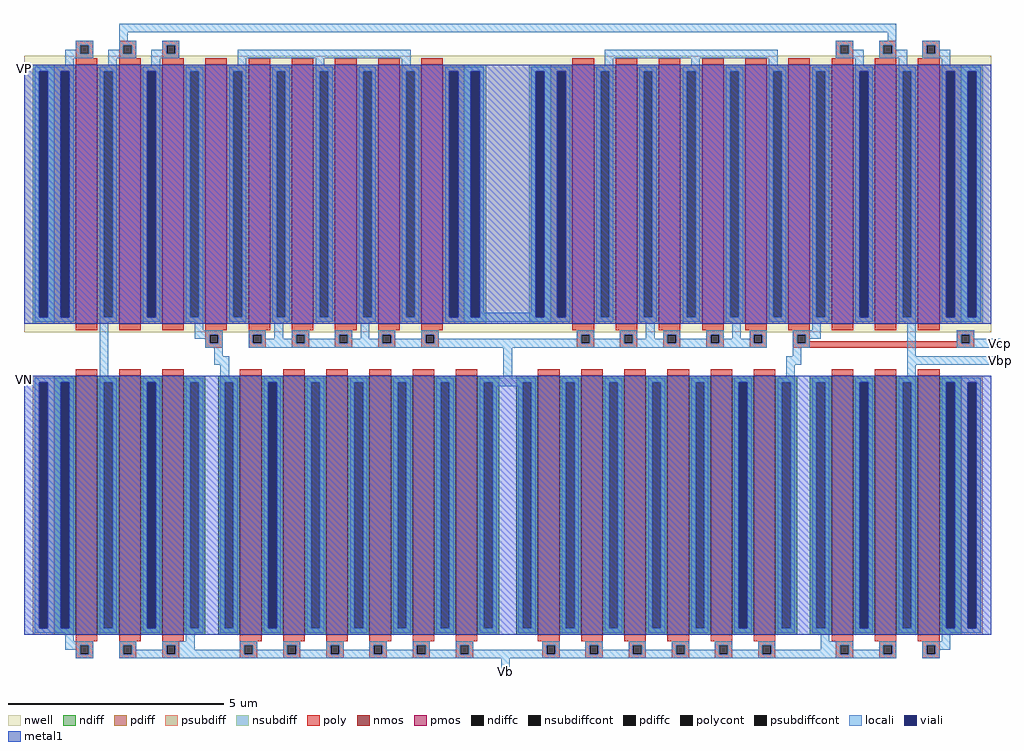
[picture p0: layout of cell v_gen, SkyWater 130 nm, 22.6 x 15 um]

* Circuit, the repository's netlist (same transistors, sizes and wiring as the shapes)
* NGSPICE file created from v_gen.ext - technology: sky130A

X0 VP VP Vcp VP sky130_fd_pr__pfet_01v8 ad=1.5 pd=6.5 as=1.5 ps=6.5 w=6 l=0.5
X1 VP VP Vbp VP sky130_fd_pr__pfet_01v8 ad=3 pd=13 as=1.5 ps=6.5 w=6 l=0.5
X2 VN Vb a_500_1500# VN sky130_fd_pr__nfet_01v8 ad=1.5 pd=6.5 as=3 ps=13 w=6 l=0.5
X3 a_800_1390# a_800_1390# a_2400_1500# VP sky130_fd_pr__pfet_01v8 ad=1.5 pd=6.5 as=1.5 ps=6.5 w=6 l=0.5
X4 a_800_1390# a_800_1390# a_2400_1500# VP sky130_fd_pr__pfet_01v8 ad=1.5 pd=6.5 as=1.5 ps=6.5 w=6 l=0.5
X5 VN VN Vbp VN sky130_fd_pr__nfet_01v8 ad=3 pd=13 as=1.5 ps=6.5 w=6 l=0.5
X6 a_2640_60# Vb a_2440_60# VN sky130_fd_pr__nfet_01v8 ad=1.5 pd=6.5 as=1.5 ps=6.5 w=6 l=0.5
X7 VN Vb a_2840_60# VN sky130_fd_pr__nfet_01v8 ad=1.5 pd=6.5 as=1.5 ps=6.5 w=6 l=0.5
X8 VN Vb Vb VN sky130_fd_pr__nfet_01v8 ad=1.5 pd=6.5 as=3 ps=13 w=6 l=0.5
X9 VN Vb Vbp VN sky130_fd_pr__nfet_01v8 ad=1.5 pd=6.5 as=1.5 ps=6.5 w=6 l=0.5
X10 a_2240_60# Vb a_800_1390# VN sky130_fd_pr__nfet_01v8 ad=1.5 pd=6.5 as=3 ps=13 w=6 l=0.5
X11 VP Vbp Vbp VP sky130_fd_pr__pfet_01v8 ad=1.5 pd=6.5 as=1.5 ps=6.5 w=6 l=0.5
X12 a_800_1390# Vb a_1660_60# VN sky130_fd_pr__nfet_01v8 ad=3 pd=13 as=1.5 ps=6.5 w=6 l=0.5
X13 a_700_1500# a_500_1500# a_500_1500# VP sky130_fd_pr__pfet_01v8 ad=1.5 pd=6.5 as=1.5 ps=6.5 w=6 l=0.5
X14 a_700_1500# a_800_1390# a_800_1390# VP sky130_fd_pr__pfet_01v8 ad=1.5 pd=6.5 as=1.5 ps=6.5 w=6 l=0.5
X15 a_1460_60# Vb a_1260_60# VN sky130_fd_pr__nfet_01v8 ad=1.5 pd=6.5 as=1.5 ps=6.5 w=6 l=0.5
X16 a_700_1500# a_800_1390# a_800_1390# VP sky130_fd_pr__pfet_01v8 ad=1.5 pd=6.5 as=1.5 ps=6.5 w=6 l=0.5
X17 Vbp VN VN VN sky130_fd_pr__nfet_01v8 ad=1.5 pd=6.5 as=3 ps=13 w=6 l=0.5
X18 Vcp Vcp a_2400_1500# VP sky130_fd_pr__pfet_01v8 ad=1.5 pd=6.5 as=1.5 ps=6.5 w=6 l=0.5
X19 Vbp Vbp VP VP sky130_fd_pr__pfet_01v8 ad=1.5 pd=6.5 as=1.5 ps=6.5 w=6 l=0.5
X20 a_1060_60# Vb VN VN sky130_fd_pr__nfet_01v8 ad=1.5 pd=6.5 as=1.5 ps=6.5 w=6 l=0.5
X21 a_2400_1500# a_800_1390# VP VP sky130_fd_pr__pfet_01v8 ad=1.5 pd=6.5 as=3 ps=13 w=6 l=0.5
X22 a_2400_1500# a_800_1390# a_800_1390# VP sky130_fd_pr__pfet_01v8 ad=1.5 pd=6.5 as=1.5 ps=6.5 w=6 l=0.5
X23 Vb Vb VN VN sky130_fd_pr__nfet_01v8 ad=3 pd=13 as=1.5 ps=6.5 w=6 l=0.5
X24 a_2840_60# Vb a_2640_60# VN sky130_fd_pr__nfet_01v8 ad=1.5 pd=6.5 as=1.5 ps=6.5 w=6 l=0.5
X25 Vbp Vb VN VN sky130_fd_pr__nfet_01v8 ad=1.5 pd=6.5 as=1.5 ps=6.5 w=6 l=0.5
X26 a_2440_60# Vb a_2240_60# VN sky130_fd_pr__nfet_01v8 ad=1.5 pd=6.5 as=1.5 ps=6.5 w=6 l=0.5
X27 Vbp VP VP VP sky130_fd_pr__pfet_01v8 ad=1.5 pd=6.5 as=3 ps=13 w=6 l=0.5
X28 a_500_1500# VP VP VP sky130_fd_pr__pfet_01v8 ad=1.5 pd=6.5 as=1.5 ps=6.5 w=6 l=0.5
X29 a_1660_60# Vb a_1460_60# VN sky130_fd_pr__nfet_01v8 ad=1.5 pd=6.5 as=1.5 ps=6.5 w=6 l=0.5
X30 a_800_1390# a_800_1390# a_700_1500# VP sky130_fd_pr__pfet_01v8 ad=1.5 pd=6.5 as=1.5 ps=6.5 w=6 l=0.5
X31 a_800_1390# a_800_1390# a_700_1500# VP sky130_fd_pr__pfet_01v8 ad=1.5 pd=6.5 as=1.5 ps=6.5 w=6 l=0.5
X32 a_1260_60# Vb a_1060_60# VN sky130_fd_pr__nfet_01v8 ad=1.5 pd=6.5 as=1.5 ps=6.5 w=6 l=0.5
X33 VP a_800_1390# a_700_1500# VP sky130_fd_pr__pfet_01v8 ad=3 pd=13 as=1.5 ps=6.5 w=6 l=0.5
X34 a_2400_1500# a_800_1390# a_800_1390# VP sky130_fd_pr__pfet_01v8 ad=1.5 pd=6.5 as=1.5 ps=6.5 w=6 l=0.5
X35 Vcp Vb VN VN sky130_fd_pr__nfet_01v8 ad=3 pd=13 as=1.5 ps=6.5 w=6 l=0.5

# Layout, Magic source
magic
tech sky130A
<< nwell >>
rect -120 730 2120 1370
<< nmos >>
rect 0 30 50 630
rect 100 30 150 630
rect 200 30 250 630
rect 380 30 430 630
rect 480 30 530 630
rect 580 30 630 630
rect 680 30 730 630
rect 780 30 830 630
rect 880 30 930 630
rect 1070 30 1120 630
rect 1170 30 1220 630
rect 1270 30 1320 630
rect 1370 30 1420 630
rect 1470 30 1520 630
rect 1570 30 1620 630
rect 1750 30 1800 630
rect 1850 30 1900 630
rect 1950 30 2000 630
<< pmos >>
rect 0 750 50 1350
rect 100 750 150 1350
rect 200 750 250 1350
rect 300 750 350 1350
rect 400 750 450 1350
rect 500 750 550 1350
rect 600 750 650 1350
rect 700 750 750 1350
rect 800 750 850 1350
rect 1150 750 1200 1350
rect 1250 750 1300 1350
rect 1350 750 1400 1350
rect 1450 750 1500 1350
rect 1550 750 1600 1350
rect 1650 750 1700 1350
rect 1750 750 1800 1350
rect 1850 750 1900 1350
rect 1950 750 2000 1350
<< ndiff >>
rect -50 615 0 630
rect -50 45 -35 615
rect -15 45 0 615
rect -50 30 0 45
rect 50 615 100 630
rect 50 45 65 615
rect 85 45 100 615
rect 50 30 100 45
rect 150 615 200 630
rect 150 45 165 615
rect 185 45 200 615
rect 150 30 200 45
rect 250 615 300 630
rect 250 45 265 615
rect 285 45 300 615
rect 250 30 300 45
rect 330 615 380 630
rect 330 45 345 615
rect 365 45 380 615
rect 330 30 380 45
rect 430 615 480 630
rect 430 45 445 615
rect 465 45 480 615
rect 430 30 480 45
rect 530 615 580 630
rect 530 45 545 615
rect 565 45 580 615
rect 530 30 580 45
rect 630 615 680 630
rect 630 45 645 615
rect 665 45 680 615
rect 630 30 680 45
rect 730 615 780 630
rect 730 45 745 615
rect 765 45 780 615
rect 730 30 780 45
rect 830 615 880 630
rect 830 45 845 615
rect 865 45 880 615
rect 830 30 880 45
rect 930 615 980 630
rect 930 45 945 615
rect 965 45 980 615
rect 930 30 980 45
rect 1020 615 1070 630
rect 1020 45 1035 615
rect 1055 45 1070 615
rect 1020 30 1070 45
rect 1120 615 1170 630
rect 1120 45 1135 615
rect 1155 45 1170 615
rect 1120 30 1170 45
rect 1220 615 1270 630
rect 1220 45 1235 615
rect 1255 45 1270 615
rect 1220 30 1270 45
rect 1320 615 1370 630
rect 1320 45 1335 615
rect 1355 45 1370 615
rect 1320 30 1370 45
rect 1420 615 1470 630
rect 1420 45 1435 615
rect 1455 45 1470 615
rect 1420 30 1470 45
rect 1520 615 1570 630
rect 1520 45 1535 615
rect 1555 45 1570 615
rect 1520 30 1570 45
rect 1620 615 1670 630
rect 1620 45 1635 615
rect 1655 45 1670 615
rect 1620 30 1670 45
rect 1700 615 1750 630
rect 1700 45 1715 615
rect 1735 45 1750 615
rect 1700 30 1750 45
rect 1800 615 1850 630
rect 1800 45 1815 615
rect 1835 45 1850 615
rect 1800 30 1850 45
rect 1900 615 1950 630
rect 1900 45 1915 615
rect 1935 45 1950 615
rect 1900 30 1950 45
rect 2000 615 2050 630
rect 2000 45 2015 615
rect 2035 45 2050 615
rect 2000 30 2050 45
<< pdiff >>
rect -50 1335 0 1350
rect -50 765 -35 1335
rect -15 765 0 1335
rect -50 750 0 765
rect 50 1335 100 1350
rect 50 765 65 1335
rect 85 765 100 1335
rect 50 750 100 765
rect 150 1335 200 1350
rect 150 765 165 1335
rect 185 765 200 1335
rect 150 750 200 765
rect 250 1335 300 1350
rect 250 765 265 1335
rect 285 765 300 1335
rect 250 750 300 765
rect 350 1335 400 1350
rect 350 765 365 1335
rect 385 765 400 1335
rect 350 750 400 765
rect 450 1335 500 1350
rect 450 765 465 1335
rect 485 765 500 1335
rect 450 750 500 765
rect 550 1335 600 1350
rect 550 765 565 1335
rect 585 765 600 1335
rect 550 750 600 765
rect 650 1335 700 1350
rect 650 765 665 1335
rect 685 765 700 1335
rect 650 750 700 765
rect 750 1335 800 1350
rect 750 765 765 1335
rect 785 765 800 1335
rect 750 750 800 765
rect 850 1335 900 1350
rect 850 765 865 1335
rect 885 765 900 1335
rect 850 750 900 765
rect 1100 1335 1150 1350
rect 1100 765 1115 1335
rect 1135 765 1150 1335
rect 1100 750 1150 765
rect 1200 1335 1250 1350
rect 1200 765 1215 1335
rect 1235 765 1250 1335
rect 1200 750 1250 765
rect 1300 1335 1350 1350
rect 1300 765 1315 1335
rect 1335 765 1350 1335
rect 1300 750 1350 765
rect 1400 1335 1450 1350
rect 1400 765 1415 1335
rect 1435 765 1450 1335
rect 1400 750 1450 765
rect 1500 1335 1550 1350
rect 1500 765 1515 1335
rect 1535 765 1550 1335
rect 1500 750 1550 765
rect 1600 1335 1650 1350
rect 1600 765 1615 1335
rect 1635 765 1650 1335
rect 1600 750 1650 765
rect 1700 1335 1750 1350
rect 1700 765 1715 1335
rect 1735 765 1750 1335
rect 1700 750 1750 765
rect 1800 1335 1850 1350
rect 1800 765 1815 1335
rect 1835 765 1850 1335
rect 1800 750 1850 765
rect 1900 1335 1950 1350
rect 1900 765 1915 1335
rect 1935 765 1950 1335
rect 1900 750 1950 765
rect 2000 1335 2050 1350
rect 2000 765 2015 1335
rect 2035 765 2050 1335
rect 2000 750 2050 765
<< ndiffc >>
rect -35 45 -15 615
rect 65 45 85 615
rect 165 45 185 615
rect 265 45 285 615
rect 345 45 365 615
rect 445 45 465 615
rect 545 45 565 615
rect 645 45 665 615
rect 745 45 765 615
rect 845 45 865 615
rect 945 45 965 615
rect 1035 45 1055 615
rect 1135 45 1155 615
rect 1235 45 1255 615
rect 1335 45 1355 615
rect 1435 45 1455 615
rect 1535 45 1555 615
rect 1635 45 1655 615
rect 1715 45 1735 615
rect 1815 45 1835 615
rect 1915 45 1935 615
rect 2015 45 2035 615
<< pdiffc >>
rect -35 765 -15 1335
rect 65 765 85 1335
rect 165 765 185 1335
rect 265 765 285 1335
rect 365 765 385 1335
rect 465 765 485 1335
rect 565 765 585 1335
rect 665 765 685 1335
rect 765 765 785 1335
rect 865 765 885 1335
rect 1115 765 1135 1335
rect 1215 765 1235 1335
rect 1315 765 1335 1335
rect 1415 765 1435 1335
rect 1515 765 1535 1335
rect 1615 765 1635 1335
rect 1715 765 1735 1335
rect 1815 765 1835 1335
rect 1915 765 1935 1335
rect 2015 765 2035 1335
<< psubdiff >>
rect -100 615 -50 630
rect -100 45 -85 615
rect -65 45 -50 615
rect -100 30 -50 45
rect 2050 615 2100 630
rect 2050 45 2065 615
rect 2085 45 2100 615
rect 2050 30 2100 45
<< nsubdiff >>
rect -100 1335 -50 1350
rect -100 765 -85 1335
rect -65 765 -50 1335
rect -100 750 -50 765
rect 900 1335 950 1350
rect 900 765 915 1335
rect 935 765 950 1335
rect 900 750 950 765
rect 1050 1335 1100 1350
rect 1050 765 1065 1335
rect 1085 765 1100 1335
rect 1050 750 1100 765
rect 2050 1335 2100 1350
rect 2050 765 2065 1335
rect 2085 765 2100 1335
rect 2050 750 2100 765
<< psubdiffcont >>
rect -85 45 -65 615
rect 2065 45 2085 615
<< nsubdiffcont >>
rect -85 765 -65 1335
rect 915 765 935 1335
rect 1065 765 1085 1335
rect 2065 765 2085 1335
<< poly >>
rect 0 1395 40 1405
rect 0 1375 10 1395
rect 30 1375 40 1395
rect 0 1365 40 1375
rect 100 1395 140 1405
rect 100 1375 110 1395
rect 130 1375 140 1395
rect 100 1365 140 1375
rect 200 1395 240 1405
rect 200 1375 210 1395
rect 230 1375 240 1395
rect 200 1365 240 1375
rect 1760 1395 1800 1405
rect 1760 1375 1770 1395
rect 1790 1375 1800 1395
rect 1760 1365 1800 1375
rect 1860 1395 1900 1405
rect 1860 1375 1870 1395
rect 1890 1375 1900 1395
rect 1860 1365 1900 1375
rect 1960 1395 2000 1405
rect 1960 1375 1970 1395
rect 1990 1375 2000 1395
rect 1960 1365 2000 1375
rect 0 1350 50 1365
rect 100 1350 150 1365
rect 200 1350 250 1365
rect 300 1350 350 1365
rect 400 1350 450 1365
rect 500 1350 550 1365
rect 600 1350 650 1365
rect 700 1350 750 1365
rect 800 1350 850 1365
rect 1150 1350 1200 1365
rect 1250 1350 1300 1365
rect 1350 1350 1400 1365
rect 1450 1350 1500 1365
rect 1550 1350 1600 1365
rect 1650 1350 1700 1365
rect 1750 1350 1800 1365
rect 1850 1350 1900 1365
rect 1950 1350 2000 1365
rect 0 735 50 750
rect 100 735 150 750
rect 200 735 250 750
rect 300 735 350 750
rect 400 735 450 750
rect 500 735 550 750
rect 600 735 650 750
rect 700 735 750 750
rect 800 735 850 750
rect 1150 735 1200 750
rect 1250 735 1300 750
rect 1350 735 1400 750
rect 1450 735 1500 750
rect 1550 735 1600 750
rect 1650 735 1700 750
rect 1750 735 1800 750
rect 1850 735 1900 750
rect 1950 735 2000 750
rect 300 725 340 735
rect 300 705 310 725
rect 330 705 340 725
rect 300 695 340 705
rect 400 725 440 735
rect 400 705 410 725
rect 430 705 440 725
rect 400 695 440 705
rect 500 725 540 735
rect 500 705 510 725
rect 530 705 540 725
rect 500 695 540 705
rect 600 725 640 735
rect 600 705 610 725
rect 630 705 640 725
rect 600 695 640 705
rect 700 725 740 735
rect 700 705 710 725
rect 730 705 740 725
rect 700 695 740 705
rect 800 725 840 735
rect 800 705 810 725
rect 830 705 840 725
rect 800 695 840 705
rect 1160 725 1200 735
rect 1160 705 1170 725
rect 1190 705 1200 725
rect 1160 695 1200 705
rect 1260 725 1300 735
rect 1260 705 1270 725
rect 1290 705 1300 725
rect 1260 695 1300 705
rect 1360 725 1400 735
rect 1360 705 1370 725
rect 1390 705 1400 725
rect 1360 695 1400 705
rect 1460 725 1500 735
rect 1460 705 1470 725
rect 1490 705 1500 725
rect 1460 695 1500 705
rect 1560 725 1600 735
rect 1560 705 1570 725
rect 1590 705 1600 725
rect 1560 695 1600 705
rect 1660 725 1700 735
rect 1660 705 1670 725
rect 1690 710 1700 725
rect 2040 725 2080 735
rect 2040 710 2050 725
rect 1690 705 2050 710
rect 2070 705 2080 725
rect 1660 695 2080 705
rect 0 630 50 645
rect 100 630 150 645
rect 200 630 250 645
rect 380 630 430 645
rect 480 630 530 645
rect 580 630 630 645
rect 680 630 730 645
rect 780 630 830 645
rect 880 630 930 645
rect 1070 630 1120 645
rect 1170 630 1220 645
rect 1270 630 1320 645
rect 1370 630 1420 645
rect 1470 630 1520 645
rect 1570 630 1620 645
rect 1750 630 1800 645
rect 1850 630 1900 645
rect 1950 630 2000 645
rect 0 15 50 30
rect 100 15 150 30
rect 200 15 250 30
rect 380 15 430 30
rect 480 15 530 30
rect 580 15 630 30
rect 680 15 730 30
rect 780 15 830 30
rect 880 15 930 30
rect 1070 15 1120 30
rect 1170 15 1220 30
rect 1270 15 1320 30
rect 1370 15 1420 30
rect 1470 15 1520 30
rect 1570 15 1620 30
rect 1750 15 1800 30
rect 1850 15 1900 30
rect 1950 15 2000 30
rect 0 5 40 15
rect 0 -15 10 5
rect 30 -15 40 5
rect 0 -25 40 -15
rect 100 5 140 15
rect 100 -15 110 5
rect 130 -15 140 5
rect 100 -25 140 -15
rect 200 5 240 15
rect 200 -15 210 5
rect 230 -15 240 5
rect 200 -25 240 -15
rect 380 5 420 15
rect 380 -15 390 5
rect 410 -15 420 5
rect 380 -25 420 -15
rect 480 5 520 15
rect 480 -15 490 5
rect 510 -15 520 5
rect 480 -25 520 -15
rect 580 5 620 15
rect 580 -15 590 5
rect 610 -15 620 5
rect 580 -25 620 -15
rect 680 5 720 15
rect 680 -15 690 5
rect 710 -15 720 5
rect 680 -25 720 -15
rect 780 5 820 15
rect 780 -15 790 5
rect 810 -15 820 5
rect 780 -25 820 -15
rect 880 5 920 15
rect 880 -15 890 5
rect 910 -15 920 5
rect 880 -25 920 -15
rect 1080 5 1120 15
rect 1080 -15 1090 5
rect 1110 -15 1120 5
rect 1080 -25 1120 -15
rect 1180 5 1220 15
rect 1180 -15 1190 5
rect 1210 -15 1220 5
rect 1180 -25 1220 -15
rect 1280 5 1320 15
rect 1280 -15 1290 5
rect 1310 -15 1320 5
rect 1280 -25 1320 -15
rect 1380 5 1420 15
rect 1380 -15 1390 5
rect 1410 -15 1420 5
rect 1380 -25 1420 -15
rect 1480 5 1520 15
rect 1480 -15 1490 5
rect 1510 -15 1520 5
rect 1480 -25 1520 -15
rect 1580 5 1620 15
rect 1580 -15 1590 5
rect 1610 -15 1620 5
rect 1580 -25 1620 -15
rect 1760 5 1800 15
rect 1760 -15 1770 5
rect 1790 -15 1800 5
rect 1760 -25 1800 -15
rect 1860 5 1900 15
rect 1860 -15 1870 5
rect 1890 -15 1900 5
rect 1860 -25 1900 -15
rect 1960 5 2000 15
rect 1960 -15 1970 5
rect 1990 -15 2000 5
rect 1960 -25 2000 -15
<< polycont >>
rect 10 1375 30 1395
rect 110 1375 130 1395
rect 210 1375 230 1395
rect 1770 1375 1790 1395
rect 1870 1375 1890 1395
rect 1970 1375 1990 1395
rect 310 705 330 725
rect 410 705 430 725
rect 510 705 530 725
rect 610 705 630 725
rect 710 705 730 725
rect 810 705 830 725
rect 1170 705 1190 725
rect 1270 705 1290 725
rect 1370 705 1390 725
rect 1470 705 1490 725
rect 1570 705 1590 725
rect 1670 705 1690 725
rect 2050 705 2070 725
rect 10 -15 30 5
rect 110 -15 130 5
rect 210 -15 230 5
rect 390 -15 410 5
rect 490 -15 510 5
rect 590 -15 610 5
rect 690 -15 710 5
rect 790 -15 810 5
rect 890 -15 910 5
rect 1090 -15 1110 5
rect 1190 -15 1210 5
rect 1290 -15 1310 5
rect 1390 -15 1410 5
rect 1490 -15 1510 5
rect 1590 -15 1610 5
rect 1770 -15 1790 5
rect 1870 -15 1890 5
rect 1970 -15 1990 5
<< locali >>
rect 100 1425 1900 1445
rect 100 1405 120 1425
rect 1880 1405 1900 1425
rect 0 1395 40 1405
rect 0 1385 10 1395
rect -25 1375 10 1385
rect 30 1375 40 1395
rect 100 1395 140 1405
rect 100 1385 110 1395
rect -25 1365 40 1375
rect 75 1375 110 1385
rect 130 1375 140 1395
rect 200 1395 240 1405
rect 200 1385 210 1395
rect 75 1365 140 1375
rect 175 1375 210 1385
rect 230 1375 240 1395
rect 1760 1395 1800 1405
rect 175 1365 240 1375
rect 375 1365 775 1385
rect -25 1345 -5 1365
rect 75 1345 95 1365
rect 175 1345 195 1365
rect 375 1345 395 1365
rect 555 1345 575 1365
rect 755 1345 775 1365
rect 1225 1365 1625 1385
rect 1760 1375 1770 1395
rect 1790 1385 1800 1395
rect 1860 1395 1900 1405
rect 1790 1375 1825 1385
rect 1760 1365 1825 1375
rect 1860 1375 1870 1395
rect 1890 1385 1900 1395
rect 1960 1395 2000 1405
rect 1890 1375 1925 1385
rect 1860 1365 1925 1375
rect 1960 1375 1970 1395
rect 1990 1385 2000 1395
rect 1990 1375 2025 1385
rect 1960 1365 2025 1375
rect 1225 1345 1245 1365
rect 1425 1345 1445 1365
rect 1605 1345 1625 1365
rect 1805 1345 1825 1365
rect 1905 1345 1925 1365
rect 2005 1345 2025 1365
rect -95 1335 -5 1345
rect -95 765 -85 1335
rect -65 765 -35 1335
rect -15 765 -5 1335
rect -95 755 -5 765
rect 55 1335 95 1345
rect 55 765 65 1335
rect 85 765 95 1335
rect 55 755 95 765
rect 155 1335 195 1345
rect 155 765 165 1335
rect 185 765 195 1335
rect 155 755 195 765
rect 255 1335 295 1345
rect 255 765 265 1335
rect 285 765 295 1335
rect 255 755 295 765
rect 355 1335 395 1345
rect 355 765 365 1335
rect 385 765 395 1335
rect 355 755 395 765
rect 455 1335 495 1345
rect 455 765 465 1335
rect 485 765 495 1335
rect 455 755 495 765
rect 555 1335 595 1345
rect 555 765 565 1335
rect 585 765 595 1335
rect 555 755 595 765
rect 655 1335 695 1345
rect 655 765 665 1335
rect 685 765 695 1335
rect 655 755 695 765
rect 755 1335 795 1345
rect 755 765 765 1335
rect 785 765 795 1335
rect 755 755 795 765
rect 855 1335 945 1345
rect 855 765 865 1335
rect 885 765 915 1335
rect 935 775 945 1335
rect 1055 1335 1145 1345
rect 1055 775 1065 1335
rect 935 765 1065 775
rect 1085 765 1115 1335
rect 1135 765 1145 1335
rect 855 755 1145 765
rect 1205 1335 1245 1345
rect 1205 765 1215 1335
rect 1235 765 1245 1335
rect 1205 755 1245 765
rect 1305 1335 1345 1345
rect 1305 765 1315 1335
rect 1335 765 1345 1335
rect 1305 755 1345 765
rect 1405 1335 1445 1345
rect 1405 765 1415 1335
rect 1435 765 1445 1335
rect 1405 755 1445 765
rect 1505 1335 1545 1345
rect 1505 765 1515 1335
rect 1535 765 1545 1335
rect 1505 755 1545 765
rect 1605 1335 1645 1345
rect 1605 765 1615 1335
rect 1635 765 1645 1335
rect 1605 755 1645 765
rect 1705 1335 1745 1345
rect 1705 765 1715 1335
rect 1735 765 1745 1335
rect 1705 755 1745 765
rect 1805 1335 1845 1345
rect 1805 765 1815 1335
rect 1835 765 1845 1335
rect 1805 755 1845 765
rect 1905 1335 1945 1345
rect 1905 765 1915 1335
rect 1935 765 1945 1335
rect 1905 755 1945 765
rect 2005 1335 2095 1345
rect 2005 765 2015 1335
rect 2035 765 2065 1335
rect 2085 765 2095 1335
rect 2005 755 2095 765
rect 55 625 75 755
rect 275 735 295 755
rect 275 725 340 735
rect 275 715 310 725
rect 300 705 310 715
rect 330 705 340 725
rect 300 695 340 705
rect 400 725 440 735
rect 400 705 410 725
rect 430 715 440 725
rect 460 715 480 755
rect 500 725 540 735
rect 500 715 510 725
rect 430 705 510 715
rect 530 715 540 725
rect 600 725 640 735
rect 600 715 610 725
rect 530 705 610 715
rect 630 715 640 725
rect 660 715 680 755
rect 700 725 740 735
rect 700 715 710 725
rect 630 705 710 715
rect 730 715 740 725
rect 800 725 840 735
rect 800 715 810 725
rect 730 705 810 715
rect 830 715 840 725
rect 1160 725 1200 735
rect 1160 715 1170 725
rect 830 705 1170 715
rect 1190 715 1200 725
rect 1260 725 1300 735
rect 1260 715 1270 725
rect 1190 705 1270 715
rect 1290 715 1300 725
rect 1320 715 1340 755
rect 1360 725 1400 735
rect 1360 715 1370 725
rect 1290 705 1370 715
rect 1390 715 1400 725
rect 1460 725 1500 735
rect 1460 715 1470 725
rect 1390 705 1470 715
rect 1490 715 1500 725
rect 1520 715 1540 755
rect 1705 735 1725 755
rect 1560 725 1600 735
rect 1560 715 1570 725
rect 1490 705 1570 715
rect 1590 705 1600 725
rect 400 695 1600 705
rect 1660 725 1725 735
rect 1660 705 1670 725
rect 1690 715 1725 725
rect 1690 705 1700 715
rect 1660 695 1700 705
rect 320 675 340 695
rect 320 655 355 675
rect 335 625 355 655
rect 990 625 1010 695
rect 1660 675 1680 695
rect 1645 655 1680 675
rect 1925 675 1945 755
rect 2040 725 2080 735
rect 2040 705 2050 725
rect 2070 715 2080 725
rect 2070 705 2140 715
rect 2040 695 2140 705
rect 1925 655 2140 675
rect 1645 625 1665 655
rect 1925 625 1945 655
rect -95 615 -5 625
rect -95 45 -85 615
rect -65 45 -35 615
rect -15 45 -5 615
rect -95 35 -5 45
rect 55 615 95 625
rect 55 45 65 615
rect 85 45 95 615
rect 55 35 95 45
rect 155 615 195 625
rect 155 45 165 615
rect 185 45 195 615
rect 155 35 195 45
rect 255 615 295 625
rect 255 45 265 615
rect 285 45 295 615
rect 255 35 295 45
rect 335 615 375 625
rect 335 45 345 615
rect 365 45 375 615
rect 335 35 375 45
rect 435 615 475 625
rect 435 45 445 615
rect 465 45 475 615
rect 435 35 475 45
rect 535 615 575 625
rect 535 45 545 615
rect 565 45 575 615
rect 535 35 575 45
rect 635 615 675 625
rect 635 45 645 615
rect 665 45 675 615
rect 635 35 675 45
rect 735 615 775 625
rect 735 45 745 615
rect 765 45 775 615
rect 735 35 775 45
rect 835 615 875 625
rect 835 45 845 615
rect 865 45 875 615
rect 835 35 875 45
rect 935 615 1065 625
rect 935 45 945 615
rect 965 605 1035 615
rect 965 45 975 605
rect 935 35 975 45
rect 1025 45 1035 605
rect 1055 45 1065 615
rect 1025 35 1065 45
rect 1125 615 1165 625
rect 1125 45 1135 615
rect 1155 45 1165 615
rect 1125 35 1165 45
rect 1225 615 1265 625
rect 1225 45 1235 615
rect 1255 45 1265 615
rect 1225 35 1265 45
rect 1325 615 1365 625
rect 1325 45 1335 615
rect 1355 45 1365 615
rect 1325 35 1365 45
rect 1425 615 1465 625
rect 1425 45 1435 615
rect 1455 45 1465 615
rect 1425 35 1465 45
rect 1525 615 1565 625
rect 1525 45 1535 615
rect 1555 45 1565 615
rect 1525 35 1565 45
rect 1625 615 1665 625
rect 1625 45 1635 615
rect 1655 45 1665 615
rect 1625 35 1665 45
rect 1705 615 1745 625
rect 1705 45 1715 615
rect 1735 45 1745 615
rect 1705 35 1745 45
rect 1805 615 1845 625
rect 1805 45 1815 615
rect 1835 45 1845 615
rect 1805 35 1845 45
rect 1905 615 1945 625
rect 1905 45 1915 615
rect 1935 45 1945 615
rect 1905 35 1945 45
rect 2005 615 2095 625
rect 2005 45 2015 615
rect 2035 45 2065 615
rect 2085 45 2095 615
rect 2005 35 2095 45
rect -25 15 -5 35
rect 255 15 275 35
rect 1725 15 1745 35
rect 2005 15 2025 35
rect -25 5 40 15
rect -25 -5 10 5
rect 0 -15 10 -5
rect 30 -15 40 5
rect 0 -25 40 -15
rect 100 5 140 15
rect 100 -15 110 5
rect 130 -5 140 5
rect 200 5 275 15
rect 200 -5 210 5
rect 130 -15 210 -5
rect 230 -5 275 5
rect 380 5 420 15
rect 380 -5 390 5
rect 230 -15 390 -5
rect 410 -5 420 5
rect 480 5 520 15
rect 480 -5 490 5
rect 410 -15 490 -5
rect 510 -5 520 5
rect 580 5 620 15
rect 580 -5 590 5
rect 510 -15 590 -5
rect 610 -5 620 5
rect 680 5 720 15
rect 680 -5 690 5
rect 610 -15 690 -5
rect 710 -5 720 5
rect 780 5 820 15
rect 780 -5 790 5
rect 710 -15 790 -5
rect 810 -5 820 5
rect 880 5 920 15
rect 880 -5 890 5
rect 810 -15 890 -5
rect 910 -5 920 5
rect 1080 5 1120 15
rect 1080 -5 1090 5
rect 910 -15 1090 -5
rect 1110 -5 1120 5
rect 1180 5 1220 15
rect 1180 -5 1190 5
rect 1110 -15 1190 -5
rect 1210 -5 1220 5
rect 1280 5 1320 15
rect 1280 -5 1290 5
rect 1210 -15 1290 -5
rect 1310 -5 1320 5
rect 1380 5 1420 15
rect 1380 -5 1390 5
rect 1310 -15 1390 -5
rect 1410 -5 1420 5
rect 1480 5 1520 15
rect 1480 -5 1490 5
rect 1410 -15 1490 -5
rect 1510 -5 1520 5
rect 1580 5 1620 15
rect 1580 -5 1590 5
rect 1510 -15 1590 -5
rect 1610 -5 1620 5
rect 1725 5 1800 15
rect 1725 -5 1770 5
rect 1610 -15 1770 -5
rect 1790 -5 1800 5
rect 1860 5 1900 15
rect 1860 -5 1870 5
rect 1790 -15 1870 -5
rect 1890 -15 1900 5
rect 100 -25 1900 -15
rect 1960 5 2025 15
rect 1960 -15 1970 5
rect 1990 -5 2025 5
rect 1990 -15 2000 -5
rect 1960 -25 2000 -15
rect 985 -55 1005 -25
<< viali >>
rect -85 765 -65 1335
rect -35 765 -15 1335
rect 165 765 185 1335
rect 865 765 885 1335
rect 915 765 935 1335
rect 1065 765 1085 1335
rect 1115 765 1135 1335
rect 1815 765 1835 1335
rect 2015 765 2035 1335
rect 2065 765 2085 1335
rect -85 45 -65 615
rect -35 45 -15 615
rect 165 45 185 615
rect 445 45 465 615
rect 1535 45 1555 615
rect 1815 45 1835 615
rect 2015 45 2035 615
rect 2065 45 2085 615
<< metal1 >>
rect -120 1335 2120 1350
rect -120 765 -85 1335
rect -65 765 -35 1335
rect -15 765 165 1335
rect 185 765 865 1335
rect 885 765 915 1335
rect 935 765 1065 1335
rect 1085 765 1115 1335
rect 1135 765 1815 1335
rect 1835 765 2015 1335
rect 2035 765 2065 1335
rect 2085 765 2120 1335
rect -120 750 2120 765
rect -120 615 2120 630
rect -120 45 -85 615
rect -65 45 -35 615
rect -15 45 165 615
rect 185 45 445 615
rect 465 45 1535 615
rect 1555 45 1815 615
rect 1835 45 2015 615
rect 2035 45 2065 615
rect 2085 45 2120 615
rect -120 30 2120 45
<< labels >>
rlabel metal1 -120 1340 -120 1340 7 VP
port 1 w
rlabel metal1 -120 620 -120 620 7 VN
port 2 w
rlabel locali 995 -55 995 -55 5 Vb
port 3 s
rlabel locali 2140 705 2140 705 3 Vcp
port 4 e
rlabel locali 2140 665 2140 665 3 Vbp
port 5 e
<< end >>
